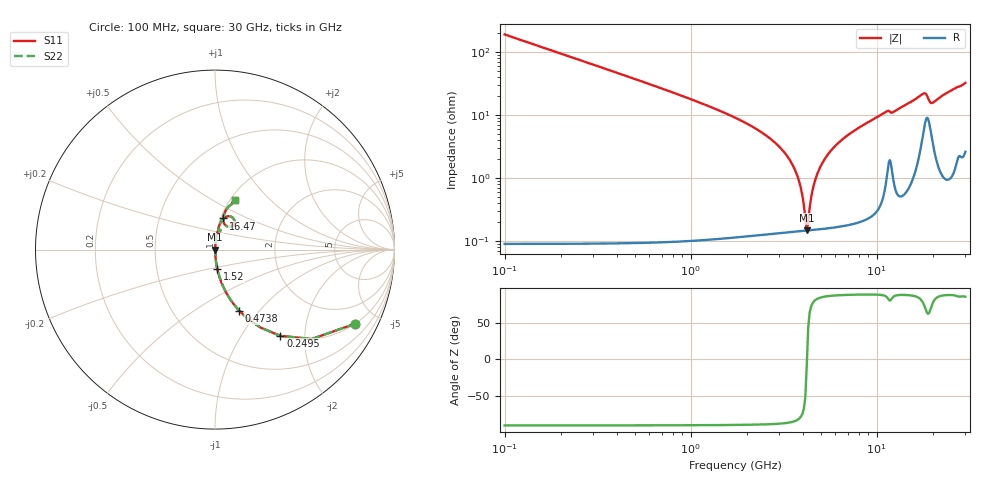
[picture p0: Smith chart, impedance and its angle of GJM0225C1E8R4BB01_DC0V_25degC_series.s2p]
!Murata Part Number: GJM0225C1E8R4BB01
!These Parameters are Measured in Series Mode Connection
!  o--ll--o
!Port1  Port2
!  o------o
!Operation Temp=25[degC], DC Bias Voltage=0[V]
!Freq. Start=100[MHz] Stop=30[GHz], 401[Steps]
!Data Generated on Feb 1, 2023
# Hz S RI R 50
!Freq.(Hz) S11(Real) S11(Imag) S21(Real) S21(Imag) S12(Real) S12(Imag) S22(Real) S22(Imag)
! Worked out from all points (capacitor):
!   401 points, 100 MHz to 30 GHz, reference 50 ohm
!   read as one part in series: C = 8.4 pF near 249.5 MHz
!   lowest |Z| = 148 mohm at 4.211 GHz (marker M1)
!   series resonance near 4.221 GHz, so ESL is about 170 pH
!   S11 on the Smith chart (normalised r, x): 100 MHz: 1.00, -3.79; 249.5 MHz: 1.00, -1.51; 473.8 MHz: 1.00, -0.79; 1.52 GHz: 1.00, -0.22; 16.47 GHz: 1.03, +0.37; 30 GHz: 1.05, +0.64
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1e8  0.7818 -0.4128  0.2182 0.4128  0.2182 0.4128  0.7818 -0.4128
2.495e8  0.3643 -0.4806  0.6357 0.4806  0.6357 0.4806  0.3643 -0.4806
4.7375e8  0.1355 -0.341  0.8645 0.341  0.8645 0.341  0.1355 -0.341
9.2225e8  0.0377 -0.188  0.9623 0.188  0.9623 0.188  0.0377 -0.188
1.52025e9  0.0127 -0.1069  0.9873 0.1069  0.9873 0.1069  0.0127 -0.1069
2.791e9  0.00275 -0.038  0.9972 0.038  0.9972 0.038  0.00275 -0.038
3.389e9  0.00177 -0.0198  0.9982 0.0198  0.9982 0.0198  0.00177 -0.0198
3.76275e9  0.00152 -0.0103  0.9985 0.0103  0.9985 0.0103  0.00152 -0.0103
4.1365e9  0.00146 -0.00181  0.9985 0.00181  0.9985 0.00181  0.00146 -0.00181
4.21125e9  0.00146 -0.000205  0.9985 0.000205  0.9985 0.000205  0.00146 -0.000205
4.36075e9  0.00149 0.00292  0.9985 -0.00292  0.9985 -0.00292  0.00149 0.00292
4.65975e9  0.00159 0.00888  0.9984 -0.00888  0.9984 -0.00888  0.00159 0.00888
5.10825e9  0.00185 0.0172  0.9982 -0.0172  0.9982 -0.0172  0.00185 0.0172
5.781e9  0.00245 0.0287  0.9975 -0.0287  0.9975 -0.0287  0.00245 0.0287
6.8275e9  0.00379 0.0451  0.9962 -0.0451  0.9962 -0.0451  0.00379 0.0451
1.01165e10  0.0116 0.0917  0.9884 -0.0917  0.9884 -0.0917  0.0116 0.0917
1.505e10  0.0309 0.1512  0.9691 -0.1512  0.9691 -0.1512  0.0309 0.1512
1.647025e10  0.0471 0.1735  0.9529 -0.1735  0.9529 -0.1735  0.0471 0.1735
1.804e10  0.0959 0.18  0.9041 -0.18  0.9041 -0.18  0.0959 0.18
2.005825e10  0.0544 0.1398  0.9456 -0.1398  0.9456 -0.1398  0.0544 0.1398
2.50665e10  0.0643 0.2256  0.9357 -0.2256  0.9357 -0.2256  0.0643 0.2256
3e10  0.1129 0.2785  0.8871 -0.2785  0.8871 -0.2785  0.1129 0.2785
